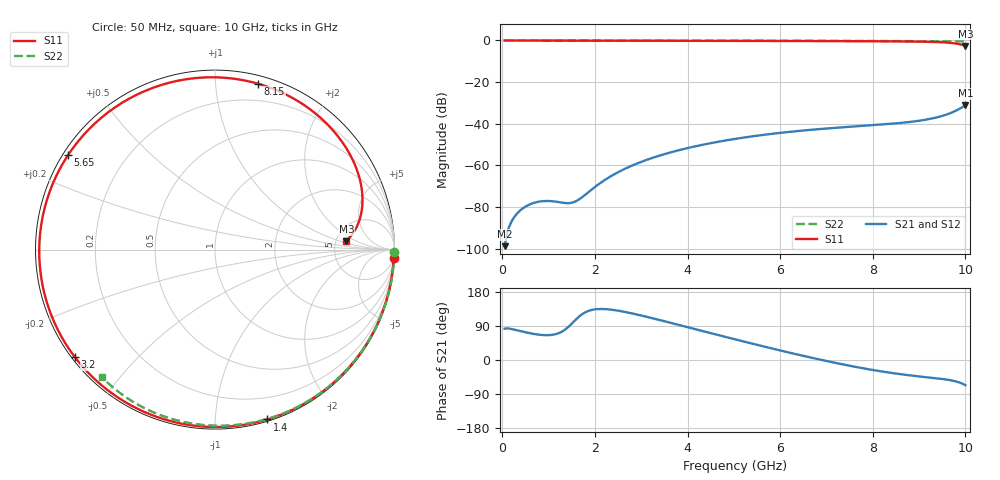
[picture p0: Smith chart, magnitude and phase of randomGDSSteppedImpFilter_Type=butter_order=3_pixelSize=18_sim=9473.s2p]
! freq	dB(S11)	phase(S11)	dB(S12)	phase(S12)
!  dB(S21)	phase(S21)	dB(S22)	phase(S22)
!S-par simulation data
#  GHz  S  DB  R 50
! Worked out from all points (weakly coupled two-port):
!   200 points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, 50 MHz to 10 GHz, reference 50 ohm
!   highest |S21| = -31.14 dB at 10 GHz (marker M1); lowest = -98.8 dB at 50 MHz (marker M2)
!   lowest |S11| = -2.7 dB at 10 GHz (marker M3), VSWR 6.51, Z = 312 + j63.8 ohm
!   |S11| at or under -10 dB: nowhere
!   |S22| runs from -0.4 to 0.0 dB; largest |S21 - S12| = 0
!   S11 on the Smith chart (normalised r, x): 50 MHz: 3, -40; 1.4 GHz: 0.01, -1.36; 3.2 GHz: 0.01, -0.34; 5.65 GHz: 0.01, +0.29; 8.15 GHz: 0.06, +1.29; 10 GHz: 6.24, +1.28
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0.05  -0.03 -2.8  -98.82 82.5  -98.82 82.5  -0.01 -0.8
0.5  -0.04 -27.4  -79.83 73.2  -79.83 73.2  -0.01 -7.6
0.8  -0.05 -43.3  -77.41 66.7  -77.41 66.7  -0.02 -12.1
1.1  -0.07 -58.5  -77.27 66.9  -77.27 66.9  -0.02 -16.6
1.4  -0.08 -72.8  -78.17 84.5  -78.17 84.5  -0.03 -21.1
1.55  -0.09 -79.7  -77.63 102.2  -77.63 102.2  -0.03 -23.3
1.75  -0.10 -88.5  -74.86 122.9  -74.86 122.9  -0.03 -26.3
2.1  -0.11 -103.0  -68.76 134.6  -68.76 134.6  -0.04 -31.4
2.4  -0.12 -114.6  -64.51 132.1  -64.51 132.1  -0.05 -35.8
3.2  -0.14 -142.4  -56.73 111.5  -56.73 111.5  -0.06 -47.2
3.4  -0.15 -148.8  -55.29 105.4  -55.29 105.4  -0.07 -50.0
4.2  -0.17 -172.7  -50.70 80.3  -50.70 80.3  -0.09 -61.1
5.05  -0.21 163.6  -47.21 53.8  -47.21 53.8  -0.11 -72.4
5.65  -0.23 147.3  -45.32 35.6  -45.32 35.6  -0.13 -80.2
6.7  -0.29 118.3  -42.86 5.4  -42.86 5.4  -0.18 -93.3
7.45  -0.34 96.7  -41.57 -14.0  -41.57 -14.0  -0.22 -102.4
8.15  -0.40 75.4  -40.48 -29.4  -40.48 -29.4  -0.27 -110.6
8.35  -0.43 69.1  -40.13 -33.2  -40.13 -33.2  -0.29 -112.9
8.9  -0.54 50.9  -38.89 -42.0  -38.89 -42.0  -0.33 -119.3
9.45  -0.82 30.4  -36.57 -49.3  -36.57 -49.3  -0.39 -125.5
9.75  -1.32 17.0  -34.21 -55.2  -34.21 -55.2  -0.42 -128.9
10  -2.69 3.7  -31.14 -66.7  -31.14 -66.7  -0.45 -131.7
